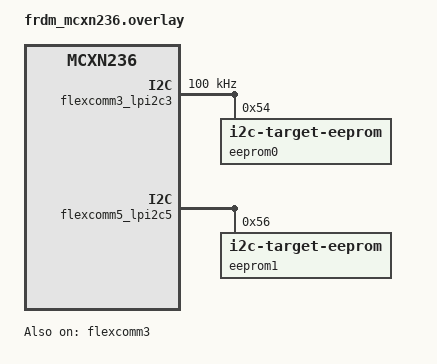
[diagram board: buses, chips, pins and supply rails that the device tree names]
/*
 * Copyright 2024 NXP
 *
 * SPDX-License-Identifier: Apache-2.0
 */
&pinctrl {
	pinmux_flexcomm3_lpi2c: pinmux_flexcomm3_lpi2c {
		group0 {
			pinmux = <FC3_P0_PIO1_0>,
				 <FC3_P1_PIO1_1>;
			slew-rate = "fast";
			drive-strength = "low";
			input-enable;
			bias-pull-up;
			drive-open-drain;
		};
	};
};

&flexcomm3 {
	status = "okay";
};

/* We cannot enable SPI and I2C on the same flexcomm */
&flexcomm3_lpspi3 {
	status = "disabled";
};

/* To test this sample, connect
 * LPI2C3 SCL(J2-12, P1_1/FC1_P1)    -->        LPI2C5 SCL(J2-20, P1_17/FC2_P1)
 * LPI2C3 SDA(J2-8, P1_0/FC1_P0)     -->        LPI2C5 SDA(J2-18, P1_16/FC2_P0)
 */
&flexcomm3_lpi2c3 {
	pinctrl-0 = <&pinmux_flexcomm3_lpi2c>;
	pinctrl-names = "default";
	clock-frequency = <I2C_BITRATE_STANDARD>;
	status = "okay";
	eeprom0: eeprom@54 {
		compatible = "zephyr,i2c-target-eeprom";
		reg = <0x54>;
		size = <1024>;
		address-width = <16>;
	};
};

&flexcomm5_lpi2c5 {
	eeprom1: eeprom@56 {
		compatible = "zephyr,i2c-target-eeprom";
		reg = <0x56>;
		size = <1024>;
		address-width = <16>;
	};
};
